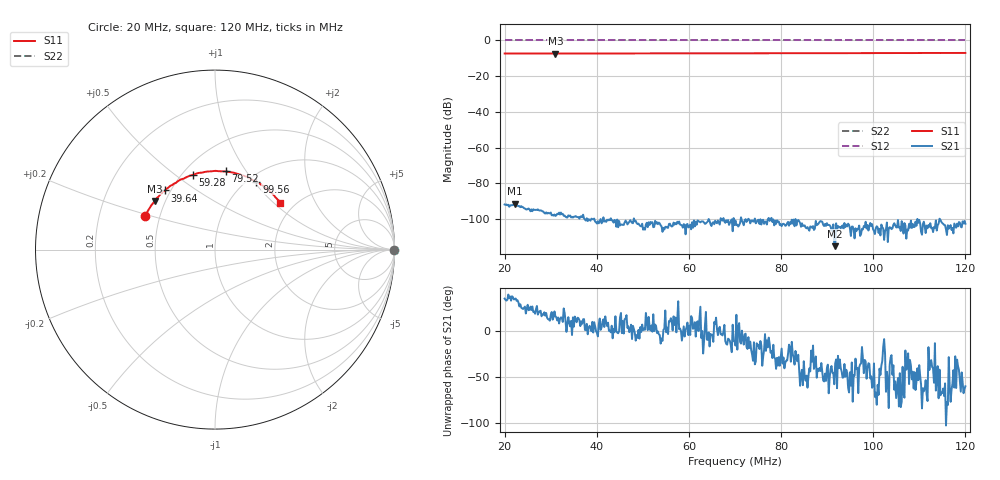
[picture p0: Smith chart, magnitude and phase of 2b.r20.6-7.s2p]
! Anritsu VNA Master:  Model: MS2036C/10/77
! SN:  1601066
! /card0/usr/18may27.balun/252b.r20.5.s2p
! Existing Calibration Information:
! TYPE:  Current Settings,  Active Cal Settings
! TIME:  05/27/2018 01:25:01 PM,  05/27/2018 01:14:08 PM
! INTERNAL TEMP:  52.0 C,  52.0 C
! # POINTS:  500,  500
! START FREQ:  20.000 MHz,  20.000 MHz
! STOP FREQ:  120.000 MHz,  120.000 MHz
! SOURCE POWER:  High,  High
! IFBW:  50 Hz,  50 Hz
! AVG FACTOR:  1 ,  1
! REF PLANE 1:  0 mm,  0 mm
! REF PLANE 2:  0 mm,  0 mm
! CAL TYPE:  Full S11,  Full S11
! CAL METHOD:  SOLT,  SOLT
! CAL LINE TYPE:  Coax,  Coax
! DUT PORT 1:  K-Conn(M),  K-Conn(M)
! DUT PORT 2:  K-Conn(M),  K-Conn(M)
! CAL STATUS:  OK: Accuracy High,  --
# GHZ S DB R 50.0
! FREQ.GHZ  S11DB  S11A  S21DB  S21A  S12DB  S12A  S22DB  S22A
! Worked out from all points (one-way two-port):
!   500 points, 20 MHz to 120 MHz, reference 50 ohm
!   highest |S21| = -91.39 dB at 22.2 MHz (marker M1); lowest = -115.2 dB at 91.74 MHz (marker M2)
!   lowest |S11| = -7.3 dB at 31.02 MHz (marker M3), VSWR 2.51, Z = 22 + j14.6 ohm
!   |S11| at or under -10 dB: nowhere
!   |S22| runs from 0.0 to 0.0 dB; largest |S21 - S12| = 1
!   S11 on the Smith chart (normalised r, x): 20 MHz: 0.41, +0.19; 39.64 MHz: 0.47, +0.38; 59.28 MHz: 0.57, +0.58; 79.52 MHz: 0.75, +0.81; 99.56 MHz: 1.09, +1.03; 120 MHz: 1.70, +1.10
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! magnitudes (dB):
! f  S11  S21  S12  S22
! 20 MHz  -7.3  -91.8  0.0  0.0
! 22.2 MHz  -7.3  -91.4  0.0  0.0
! 31.02 MHz  -7.3  -98.2  0.0  0.0
! 32.83 MHz  -7.3  -98.2  0.0  0.0
! 36.83 MHz  -7.3  -99.0  0.0  0.0
! 39.64 MHz  -7.3  -101.4  0.0  0.0
! 43.65 MHz  -7.3  -102.0  0.0  0.0
! 47.66 MHz  -7.3  -102.1  0.0  0.0
! 51.46 MHz  -7.2  -103.3  0.0  0.0
! 53.47 MHz  -7.3  -101.9  0.0  0.0
! 59.28 MHz  -7.2  -108.5  0.0  0.0
! 62.69 MHz  -7.2  -101.3  0.0  0.0
! 64.69 MHz  -7.2  -102.9  0.0  0.0
! 70.1 MHz  -7.2  -100.8  0.0  0.0
! 79.52 MHz  -7.1  -101.4  0.0  0.0
! 86.73 MHz  -7.1  -104.9  0.0  0.0
! 91.74 MHz  -7.1  -115.2  0.0  0.0
! 93.55 MHz  -7.1  -105.4  0.0  0.0
! 97.15 MHz  -7.1  -109.4  0.0  0.0
! 99.56 MHz  -7.1  -103.9  0.0  0.0
! 103.4 MHz  -7.1  -105.1  0.0  0.0
! 120 MHz  -7.0  -102.6  0.0  0.0
